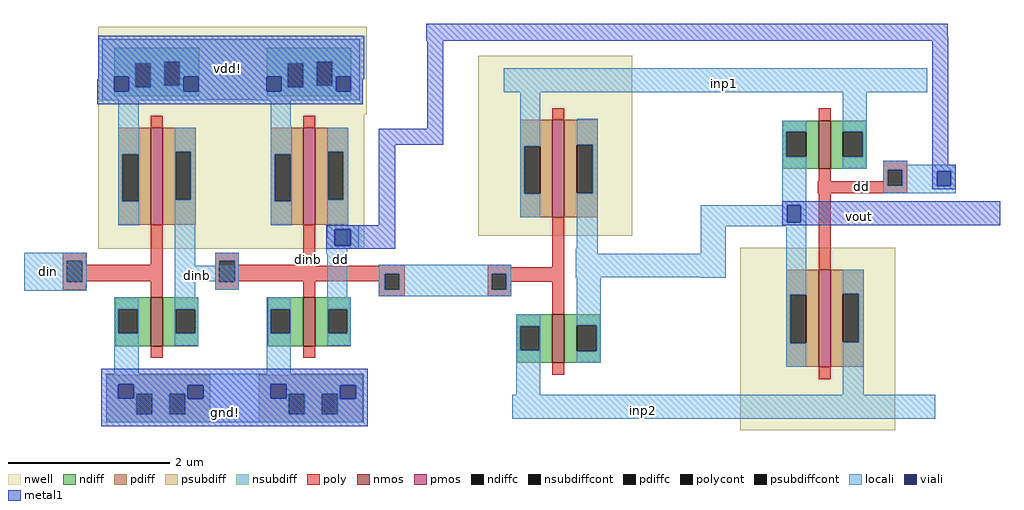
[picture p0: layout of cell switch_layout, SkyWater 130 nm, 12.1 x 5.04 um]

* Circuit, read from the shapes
.subckt switch_layout dd din dinb gnd! inp1 inp2 vdd! vout
XM1 dinb din gnd! gnd! sky130_fd_pr__nfet_01v8 w=0.61 l=0.15
XM2 dd dinb gnd! gnd! sky130_fd_pr__nfet_01v8 w=0.61 l=0.15
XM3 vout dinb inp2 gnd! sky130_fd_pr__nfet_01v8 w=0.6 l=0.15
XM4 inp1 dd vout gnd! sky130_fd_pr__nfet_01v8 w=0.6 l=0.15
XM5 dinb din vdd! vdd! sky130_fd_pr__pfet_01v8 w=1.2 l=0.15
XM6 dd dinb vdd! vdd! sky130_fd_pr__pfet_01v8 w=1.2 l=0.15
XM7 vout dinb inp1 n1 sky130_fd_pr__pfet_01v8 w=1.21 l=0.15
XM8 inp2 dd vout n2 sky130_fd_pr__pfet_01v8 w=1.2 l=0.15
.ends

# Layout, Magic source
magic
tech sky130A
<< nwell >>
rect 253 311 301 586
rect 583 327 774 550
rect 908 86 1100 312
<< nmos >>
rect 1005 410 1020 470
rect 675 170 690 230
<< pmos >>
rect 675 350 690 471
rect 1005 165 1020 285
<< ndiff >>
rect 960 456 1005 470
rect 960 425 965 456
rect 990 425 1005 456
rect 960 410 1005 425
rect 1020 456 1065 470
rect 1020 425 1035 456
rect 1060 425 1065 456
rect 1020 410 1065 425
rect 630 215 675 230
rect 630 185 635 215
rect 659 185 675 215
rect 630 170 675 185
rect 690 216 735 230
rect 690 184 705 216
rect 730 184 735 216
rect 690 170 735 184
<< pdiff >>
rect 635 438 675 471
rect 635 379 640 438
rect 660 379 675 438
rect 635 350 675 379
rect 690 440 731 471
rect 690 380 705 440
rect 725 380 731 440
rect 690 350 731 380
rect 965 254 1005 285
rect 965 194 970 254
rect 990 194 1005 254
rect 965 165 1005 194
rect 1020 255 1061 285
rect 1020 195 1035 255
rect 1055 195 1061 255
rect 1020 165 1061 195
<< ndiffc >>
rect 965 425 990 456
rect 1035 425 1060 456
rect 635 185 659 215
rect 705 184 730 216
<< pdiffc >>
rect 640 379 660 438
rect 705 380 725 440
rect 970 194 990 254
rect 1035 195 1055 255
<< poly >>
rect 675 471 690 485
rect 1005 470 1020 485
rect 1005 395 1020 410
rect 1085 409 1115 420
rect 1085 395 1091 409
rect 1004 389 1091 395
rect 1109 389 1115 409
rect 1004 380 1115 389
rect 460 290 492 291
rect 365 280 492 290
rect 365 271 467 280
rect 460 260 467 271
rect 485 260 492 280
rect 460 252 492 260
rect 595 288 624 291
rect 675 288 690 350
rect 595 280 690 288
rect 1005 285 1020 380
rect 595 260 600 280
rect 618 270 690 280
rect 618 260 624 270
rect 595 252 624 260
rect 675 230 690 270
rect 675 155 690 170
rect 1005 149 1020 165
<< polycont >>
rect 1091 389 1109 409
rect 467 260 485 280
rect 600 260 618 280
<< locali >>
rect 246 496 306 571
rect 615 505 1140 535
rect 635 438 660 505
rect 635 379 640 438
rect 635 350 660 379
rect 705 440 731 472
rect 725 380 731 440
rect 421 340 422 341
rect 420 335 435 340
rect 395 315 405 324
rect 425 315 435 335
rect 20 259 98 306
rect 395 305 417 315
rect 420 311 435 315
rect 705 311 731 380
rect 960 456 990 470
rect 960 425 965 456
rect 960 365 990 425
rect 1035 456 1065 505
rect 1060 425 1065 456
rect 1035 410 1065 425
rect 1085 415 1115 420
rect 1085 409 1175 415
rect 1085 389 1091 409
rect 1109 407 1175 409
rect 1109 389 1152 407
rect 1169 389 1175 407
rect 1085 380 1175 389
rect 704 305 731 311
rect 859 344 966 365
rect 983 344 990 365
rect 859 339 990 344
rect 859 305 890 339
rect 207 271 285 290
rect 460 280 624 291
rect 460 260 467 280
rect 485 260 600 280
rect 618 260 624 280
rect 704 276 890 305
rect 704 275 735 276
rect 859 275 890 276
rect 460 252 624 260
rect 630 215 660 230
rect 630 185 635 215
rect 659 185 660 215
rect 251 96 311 156
rect 630 130 660 185
rect 705 216 735 275
rect 730 184 735 216
rect 705 170 735 184
rect 965 254 990 339
rect 965 194 970 254
rect 965 165 990 194
rect 1035 255 1061 285
rect 1055 195 1061 255
rect 1035 130 1061 195
rect 625 100 1150 130
<< viali >>
rect 405 315 425 335
rect 1152 389 1169 407
rect 966 344 983 365
<< metal1 >>
rect 251 490 301 575
rect 519 574 1165 590
rect 519 569 1166 574
rect 520 460 540 569
rect 460 440 540 460
rect 460 340 480 440
rect 1146 415 1166 569
rect 1146 407 1175 415
rect 1146 389 1152 407
rect 1169 389 1175 407
rect 1146 385 1175 389
rect 960 365 1230 370
rect 960 344 966 365
rect 983 344 1230 365
rect 960 340 1230 344
rect 395 335 480 340
rect 395 315 405 335
rect 425 315 480 335
rect 395 311 480 315
rect 256 91 306 162
use INV  INV_1
transform 1 0 301 0 1 311
box -44 -220 145 275
use INV  INV_0
transform 1 0 112 0 1 311
box -44 -220 145 275
<< labels >>
rlabel metal1 272 534 272 534 1 vdd!
rlabel metal1 270 108 270 108 1 gnd!
rlabel locali 788 110 788 110 1 inp2
rlabel locali 889 516 889 516 1 inp1
rlabel locali 50 283 50 283 1 din
rlabel space 373 298 373 298 1 dinb
rlabel locali 235 278 235 278 1 dinb
rlabel space 413 298 413 298 1 dd
rlabel poly 1058 388 1058 388 1 dd
rlabel metal1 1056 351 1056 351 1 vout
<< end >>

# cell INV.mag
magic
tech sky130A
<< nwell >>
rect 0 167 144 275
rect 0 0 141 167
<< nmos >>
rect 65 -121 80 -60
<< pmos >>
rect 65 30 80 150
<< ndiff >>
rect 21 -75 65 -60
rect 21 -105 25 -75
rect 49 -105 65 -75
rect 21 -121 65 -105
rect 80 -75 124 -60
rect 80 -105 96 -75
rect 120 -105 124 -75
rect 80 -121 124 -105
<< pdiff >>
rect 25 117 65 150
rect 25 59 30 117
rect 50 59 65 117
rect 25 30 65 59
rect 80 120 121 150
rect 80 61 96 120
rect 115 61 121 120
rect 80 30 121 61
<< ndiffc >>
rect 25 -105 49 -75
rect 96 -105 120 -75
<< pdiffc >>
rect 30 59 50 117
rect 96 61 115 120
<< psubdiff >>
rect 10 -180 139 -156
rect 10 -205 47 -180
rect 67 -205 88 -180
rect 108 -205 139 -180
rect 10 -215 139 -205
<< nsubdiff >>
rect 20 232 125 249
rect 20 230 82 232
rect 20 200 46 230
rect 65 202 82 230
rect 101 202 125 232
rect 65 200 125 202
rect 20 189 125 200
<< psubdiffcont >>
rect 47 -205 67 -180
rect 88 -205 108 -180
<< nsubdiffcont >>
rect 46 200 65 230
rect 82 202 101 232
<< poly >>
rect 65 150 80 165
rect -44 -15 -15 -5
rect -44 -41 -39 -15
rect -20 -20 -15 -15
rect 65 -20 80 30
rect -20 -40 80 -20
rect -20 -41 -15 -40
rect -44 -51 -15 -41
rect 65 -60 80 -40
rect 65 -135 80 -121
<< polycont >>
rect -39 -41 -20 -15
<< locali >>
rect 5 232 135 260
rect 5 230 82 232
rect 5 213 46 230
rect 5 195 20 213
rect 38 200 46 213
rect 65 202 82 230
rect 101 213 135 232
rect 101 202 106 213
rect 65 200 106 202
rect 38 195 106 200
rect 124 195 135 213
rect 5 184 135 195
rect 25 151 50 184
rect 25 117 51 151
rect 25 59 30 117
rect 50 59 51 117
rect 25 29 51 59
rect 95 120 121 150
rect 95 61 96 120
rect 115 61 121 120
rect 95 30 121 61
rect -44 -15 -15 -5
rect -44 -41 -39 -15
rect -20 -41 -15 -15
rect -44 -51 -15 -41
rect 95 -60 120 30
rect 20 -75 50 -60
rect 20 -105 25 -75
rect 49 -105 50 -75
rect 20 -155 50 -105
rect 95 -75 124 -60
rect 95 -105 96 -75
rect 120 -105 124 -75
rect 95 -120 124 -105
rect 10 -168 140 -155
rect 10 -185 25 -168
rect 44 -169 140 -168
rect 44 -180 111 -169
rect 44 -185 47 -180
rect 10 -205 47 -185
rect 67 -205 88 -180
rect 108 -186 111 -180
rect 130 -186 140 -169
rect 108 -205 140 -186
rect 10 -215 140 -205
<< viali >>
rect 20 195 38 213
rect 106 195 124 213
rect 25 -185 44 -168
rect 111 -186 130 -169
<< metal1 >>
rect 0 213 141 264
rect 0 210 20 213
rect -1 195 20 210
rect 38 195 106 213
rect 124 210 141 213
rect 124 195 139 210
rect -1 179 139 195
rect 4 -168 145 -149
rect 4 -185 25 -168
rect 44 -169 145 -168
rect 44 -185 111 -169
rect 4 -186 111 -185
rect 130 -186 145 -169
rect 4 -220 145 -186
<< end >>
